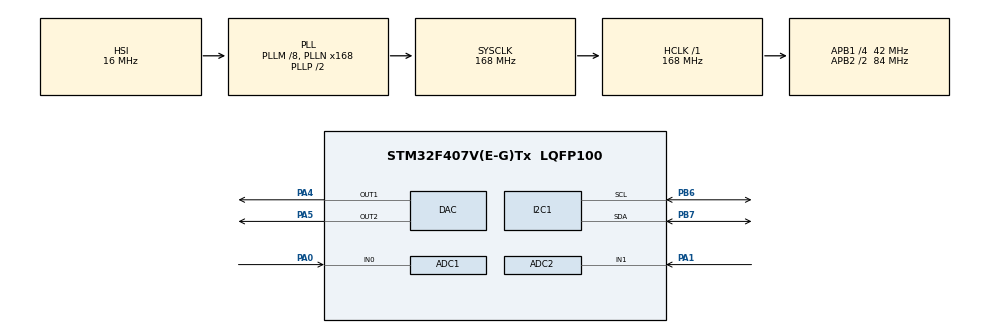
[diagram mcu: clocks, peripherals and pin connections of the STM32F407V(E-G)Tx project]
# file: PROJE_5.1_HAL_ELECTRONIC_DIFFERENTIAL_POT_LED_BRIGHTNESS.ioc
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ADC1.Channel-0\#ChannelRegularConversion=ADC_CHANNEL_0
ADC1.ContinuousConvMode=ENABLE
ADC1.NbrOfConversionFlag=1
ADC1.Rank-0\#ChannelRegularConversion=1
ADC1.Resolution=ADC_RESOLUTION_8B
ADC1.SamplingTime-0\#ChannelRegularConversion=ADC_SAMPLETIME_56CYCLES
ADC1.master=1
ADC2.Channel-0\#ChannelRegularConversion=ADC_CHANNEL_1
ADC2.ContinuousConvMode=ENABLE
ADC2.NbrOfConversionFlag=1
ADC2.Rank-0\#ChannelRegularConversion=1
ADC2.Resolution=ADC_RESOLUTION_8B
ADC2.SamplingTime-0\#ChannelRegularConversion=ADC_SAMPLETIME_56CYCLES
I2C1.I2C_Mode=I2C_Fast
Mcu.Family=STM32F4
Mcu.Name=STM32F407V(E-G)Tx
Mcu.Package=LQFP100
NVIC.PriorityGroup=NVIC_PRIORITYGROUP_4
PA0-WKUP.Signal=ADCx_IN0
PA1.Signal=ADCx_IN1
PA4.Signal=COMP_DAC1_group
PA5.Signal=COMP_DAC2_group
PB6.Mode=I2C
PB6.Signal=I2C1_SCL
PB7.Mode=I2C
PB7.Signal=I2C1_SDA
PH0-OSC_IN.Mode=HSE-External-Oscillator
PH0-OSC_IN.Signal=RCC_OSC_IN
PH1-OSC_OUT.Mode=HSE-External-Oscillator
PH1-OSC_OUT.Signal=RCC_OSC_OUT
ProjectManager.HeapSize=0x200
ProjectManager.StackSize=0x400
ProjectManager.TargetToolchain=STM32CubeIDE
RCC.48MHZClocksFreq_Value=84000000
RCC.AHBFreq_Value=168000000
RCC.APB1CLKDivider=RCC_HCLK_DIV4
RCC.APB1Freq_Value=42000000
RCC.APB1TimFreq_Value=84000000
RCC.APB2CLKDivider=RCC_HCLK_DIV2
RCC.APB2Freq_Value=84000000
RCC.APB2TimFreq_Value=168000000
RCC.CortexFreq_Value=168000000
RCC.HCLKFreq_Value=168000000
RCC.HSE_VALUE=8000000
RCC.HSI_VALUE=16000000
RCC.LSE_VALUE=32768
RCC.PLLM=8
RCC.PLLN=168
RCC.SYSCLKFreq_VALUE=168000000
RCC.SYSCLKSource=RCC_SYSCLKSOURCE_PLLCLK
RCC.VCOOutputFreq_Value=336000000
SH.ADCx_IN0.0=ADC1_IN0,IN0
SH.ADCx_IN1.0=ADC2_IN1,IN1
SH.COMP_DAC1_group.0=DAC_OUT1,DAC_OUT1
SH.COMP_DAC2_group.0=DAC_OUT2,DAC_OUT2
board=custom

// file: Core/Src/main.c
/* USER CODE BEGIN Header */
/**
  ******************************************************************************
  * @file           : main.c
  * @brief          : Main program body
  ******************************************************************************
  * @attention
  *
  * Copyright (c) 2023 STMicroelectronics.
  * All rights reserved.
  *
  * This software is licensed under terms that can be found in the LICENSE file
  * in the root directory of this software component.
  * If no LICENSE file comes with this software, it is provided AS-IS.
  *
  ******************************************************************************
  */
/* USER CODE END Header */
#include "main.h"
#include "i2c-lcd.h"

ADC_HandleTypeDef hadc1;
ADC_HandleTypeDef hadc2;

DAC_HandleTypeDef hdac;

I2C_HandleTypeDef hi2c1;

/* USER CODE BEGIN PV */

uint8_t direksiyon;
uint8_t gazpedali;

/* USER CODE END PV */

void SystemClock_Config(void);
static void MX_GPIO_Init(void);
static void MX_ADC1_Init(void);
static void MX_ADC2_Init(void);
static void MX_DAC_Init(void);
static void MX_I2C1_Init(void);

/* USER CODE BEGIN 0 */

void Read_ADC()
{
	HAL_ADC_Start(&hadc1);
	HAL_ADC_Start(&hadc2);

	if(HAL_ADC_PollForConversion(&hadc1, 100000)==HAL_OK)
	{
		direksiyon=HAL_ADC_GetValue(&hadc1);

	}

	if(HAL_ADC_PollForConversion(&hadc2, 100000)==HAL_OK)
	{
		gazpedali=HAL_ADC_GetValue(&hadc2);

	}

	HAL_ADC_Stop(&hadc1);
	HAL_ADC_Stop(&hadc2);
}

/* USER CODE END 0 */

int main(void)
{

  /* MCU Configuration--------------------------------------------------------*/

  /* Reset of all peripherals, Initializes the Flash interface and the Systick. */
  HAL_Init();

  /* Configure the system clock */
  SystemClock_Config();

  /* Initialize all configured peripherals */
  MX_GPIO_Init();
  MX_ADC1_Init();
  MX_ADC2_Init();
  MX_DAC_Init();
  MX_I2C1_Init();
  /* USER CODE BEGIN 2 */

//  lcd_init();

  HAL_DAC_Start(&hdac, DAC_CHANNEL_1);
  HAL_DAC_Start(&hdac, DAC1_CHANNEL_2);

  float hesapla(int Read_ADC_1, int Read_ADC_2)
  {
	  float x,y,z,q;

	  //direksiyon sağa döndügünde
	  if(Read_ADC_1 > 138)
	  {
		  x=138-Read_ADC_1;
		  y=Read_ADC_2+(x*2.008);   // 255/127=2.007874015
		  z=HAL_DAC_SetValue(&hdac, DAC_CHANNEL_1, DAC_ALIGN_8B_R, y);
		  return z;
	  }

	  //direksiyon sola döndügünde
	  else if(Read_ADC_1 < 118)
	  {
		  x=Read_ADC_1-118;
		  y=Read_ADC_2+(x*2.008);
		  z=HAL_DAC_SetValue(&hdac, DAC_CHANNEL_2, DAC_ALIGN_8B_R, y);
		  return z;
	  }

	  //direksiyon ortada iken
	  else if(Read_ADC_1 > 118 && Read_ADC_1 <138)
	  {

		  z=HAL_DAC_SetValue(&hdac, DAC_CHANNEL_1, DAC_ALIGN_8B_R, Read_ADC_2);
		  q=HAL_DAC_SetValue(&hdac, DAC_CHANNEL_2, DAC_ALIGN_8B_R, Read_ADC_2);
		  return z;
		  return q;
	  }

  }

  /* USER CODE END 2 */

  /* Infinite loop */
  while (1)
  {

    /* USER CODE BEGIN 3 */
	  Read_ADC();

	  lcd_send_cmd(0x80);
	  		  lcd_send_string("gazpedali=");

	  //gaz pedali ve direksiyonun aynı anda çalismasi

	  if(gazpedali==0)
	  {
		  HAL_DAC_SetValue(&hdac, DAC_CHANNEL_1, DAC_ALIGN_8B_R, 0);
		  HAL_DAC_SetValue(&hdac, DAC_CHANNEL_2, DAC_ALIGN_8B_R, 0);

		  /*
		  lcd_send_cmd(0x80);
		  lcd_send_string("gazpedali=");
		  HAL_Delay(500);
		  lcd_send_cmd(0x8A);
		  lcd_send_data(gazpedali);
		  HAL_Delay(500);
		  */

	  }

	  else if(gazpedali>0)
	  {
		  HAL_DAC_SetValue(&hdac, DAC_CHANNEL_1, DAC_ALIGN_8B_R, gazpedali);
		  HAL_DAC_SetValue(&hdac, DAC_CHANNEL_2, DAC_ALIGN_8B_R, gazpedali);
		  if(direksiyon>138)
		  {
			  hesapla(direksiyon, gazpedali);

		  }
		  else if(direksiyon<=118)
		  {
			  hesapla(direksiyon, gazpedali);

		  }
		  else if(direksiyon>138 && direksiyon<=118)
		  {
			  hesapla(direksiyon, gazpedali);

		  }

	  }

  }
  /* USER CODE END 3 */
}

void SystemClock_Config(void)
{
  RCC_OscInitTypeDef RCC_OscInitStruct = {0};
  RCC_ClkInitTypeDef RCC_ClkInitStruct = {0};

  /** Configure the main internal regulator output voltage
  */
  __HAL_RCC_PWR_CLK_ENABLE();
  __HAL_PWR_VOLTAGESCALING_CONFIG(PWR_REGULATOR_VOLTAGE_SCALE1);

  /** Initializes the RCC Oscillators according to the specified parameters
  * in the RCC_OscInitTypeDef structure.
  */
  RCC_OscInitStruct.OscillatorType = RCC_OSCILLATORTYPE_HSI;
  RCC_OscInitStruct.HSIState = RCC_HSI_ON;
  RCC_OscInitStruct.HSICalibrationValue = RCC_HSICALIBRATION_DEFAULT;
  RCC_OscInitStruct.PLL.PLLState = RCC_PLL_ON;
  RCC_OscInitStruct.PLL.PLLSource = RCC_PLLSOURCE_HSI;
  RCC_OscInitStruct.PLL.PLLM = 8;
  RCC_OscInitStruct.PLL.PLLN = 168;
  RCC_OscInitStruct.PLL.PLLP = RCC_PLLP_DIV2;
  RCC_OscInitStruct.PLL.PLLQ = 4;
  if (HAL_RCC_OscConfig(&RCC_OscInitStruct) != HAL_OK)
  {
    Error_Handler();
  }

  /** Initializes the CPU, AHB and APB buses clocks
  */
  RCC_ClkInitStruct.ClockType = RCC_CLOCKTYPE_HCLK|RCC_CLOCKTYPE_SYSCLK
                              |RCC_CLOCKTYPE_PCLK1|RCC_CLOCKTYPE_PCLK2;
  RCC_ClkInitStruct.SYSCLKSource = RCC_SYSCLKSOURCE_PLLCLK;
  RCC_ClkInitStruct.AHBCLKDivider = RCC_SYSCLK_DIV1;
  RCC_ClkInitStruct.APB1CLKDivider = RCC_HCLK_DIV4;
  RCC_ClkInitStruct.APB2CLKDivider = RCC_HCLK_DIV2;

  if (HAL_RCC_ClockConfig(&RCC_ClkInitStruct, FLASH_LATENCY_5) != HAL_OK)
  {
    Error_Handler();
  }
}

static void MX_ADC1_Init(void)
{

  ADC_ChannelConfTypeDef sConfig = {0};

  /** Configure the global features of the ADC (Clock, Resolution, Data Alignment and number of conversion)
  */
  hadc1.Instance = ADC1;
  hadc1.Init.ClockPrescaler = ADC_CLOCK_SYNC_PCLK_DIV4;
  hadc1.Init.Resolution = ADC_RESOLUTION_8B;
  hadc1.Init.ScanConvMode = DISABLE;
  hadc1.Init.ContinuousConvMode = ENABLE;
  hadc1.Init.DiscontinuousConvMode = DISABLE;
  hadc1.Init.ExternalTrigConvEdge = ADC_EXTERNALTRIGCONVEDGE_NONE;
  hadc1.Init.ExternalTrigConv = ADC_SOFTWARE_START;
  hadc1.Init.DataAlign = ADC_DATAALIGN_RIGHT;
  hadc1.Init.NbrOfConversion = 1;
  hadc1.Init.DMAContinuousRequests = DISABLE;
  hadc1.Init.EOCSelection = ADC_EOC_SINGLE_CONV;
  if (HAL_ADC_Init(&hadc1) != HAL_OK)
  {
    Error_Handler();
  }

  /** Configure for the selected ADC regular channel its corresponding rank in the sequencer and its sample time.
  */
  sConfig.Channel = ADC_CHANNEL_0;
  sConfig.Rank = 1;
  sConfig.SamplingTime = ADC_SAMPLETIME_56CYCLES;
  if (HAL_ADC_ConfigChannel(&hadc1, &sConfig) != HAL_OK)
  {
    Error_Handler();
  }

}

static void MX_ADC2_Init(void)
{

  ADC_ChannelConfTypeDef sConfig = {0};

  /** Configure the global features of the ADC (Clock, Resolution, Data Alignment and number of conversion)
  */
  hadc2.Instance = ADC2;
  hadc2.Init.ClockPrescaler = ADC_CLOCK_SYNC_PCLK_DIV4;
  hadc2.Init.Resolution = ADC_RESOLUTION_8B;
  hadc2.Init.ScanConvMode = DISABLE;
  hadc2.Init.ContinuousConvMode = ENABLE;
  hadc2.Init.DiscontinuousConvMode = DISABLE;
  hadc2.Init.ExternalTrigConvEdge = ADC_EXTERNALTRIGCONVEDGE_NONE;
  hadc2.Init.ExternalTrigConv = ADC_SOFTWARE_START;
  hadc2.Init.DataAlign = ADC_DATAALIGN_RIGHT;
  hadc2.Init.NbrOfConversion = 1;
  hadc2.Init.DMAContinuousRequests = DISABLE;
  hadc2.Init.EOCSelection = ADC_EOC_SINGLE_CONV;
  if (HAL_ADC_Init(&hadc2) != HAL_OK)
  {
    Error_Handler();
  }

  /** Configure for the selected ADC regular channel its corresponding rank in the sequencer and its sample time.
  */
  sConfig.Channel = ADC_CHANNEL_1;
  sConfig.Rank = 1;
  sConfig.SamplingTime = ADC_SAMPLETIME_56CYCLES;
  if (HAL_ADC_ConfigChannel(&hadc2, &sConfig) != HAL_OK)
  {
    Error_Handler();
  }

}

static void MX_DAC_Init(void)
{

  DAC_ChannelConfTypeDef sConfig = {0};

  /** DAC Initialization
  */
  hdac.Instance = DAC;
  if (HAL_DAC_Init(&hdac) != HAL_OK)
  {
    Error_Handler();
  }

  /** DAC channel OUT1 config
  */
  sConfig.DAC_Trigger = DAC_TRIGGER_NONE;
  sConfig.DAC_OutputBuffer = DAC_OUTPUTBUFFER_ENABLE;
  if (HAL_DAC_ConfigChannel(&hdac, &sConfig, DAC_CHANNEL_1) != HAL_OK)
  {
    Error_Handler();
  }

  /** DAC channel OUT2 config
  */
  if (HAL_DAC_ConfigChannel(&hdac, &sConfig, DAC_CHANNEL_2) != HAL_OK)
  {
    Error_Handler();
  }

}

static void MX_I2C1_Init(void)
{

  hi2c1.Instance = I2C1;
  hi2c1.Init.ClockSpeed = 400000;
  hi2c1.Init.DutyCycle = I2C_DUTYCYCLE_2;
  hi2c1.Init.OwnAddress1 = 0;
  hi2c1.Init.AddressingMode = I2C_ADDRESSINGMODE_7BIT;
  hi2c1.Init.DualAddressMode = I2C_DUALADDRESS_DISABLE;
  hi2c1.Init.OwnAddress2 = 0;
  hi2c1.Init.GeneralCallMode = I2C_GENERALCALL_DISABLE;
  hi2c1.Init.NoStretchMode = I2C_NOSTRETCH_DISABLE;
  if (HAL_I2C_Init(&hi2c1) != HAL_OK)
  {
    Error_Handler();
  }

}

static void MX_GPIO_Init(void)
{

  /* GPIO Ports Clock Enable */
  __HAL_RCC_GPIOH_CLK_ENABLE();
  __HAL_RCC_GPIOA_CLK_ENABLE();
  __HAL_RCC_GPIOB_CLK_ENABLE();

}

void Error_Handler(void)
{
  __disable_irq();
  while (1)
  {
  }
}
